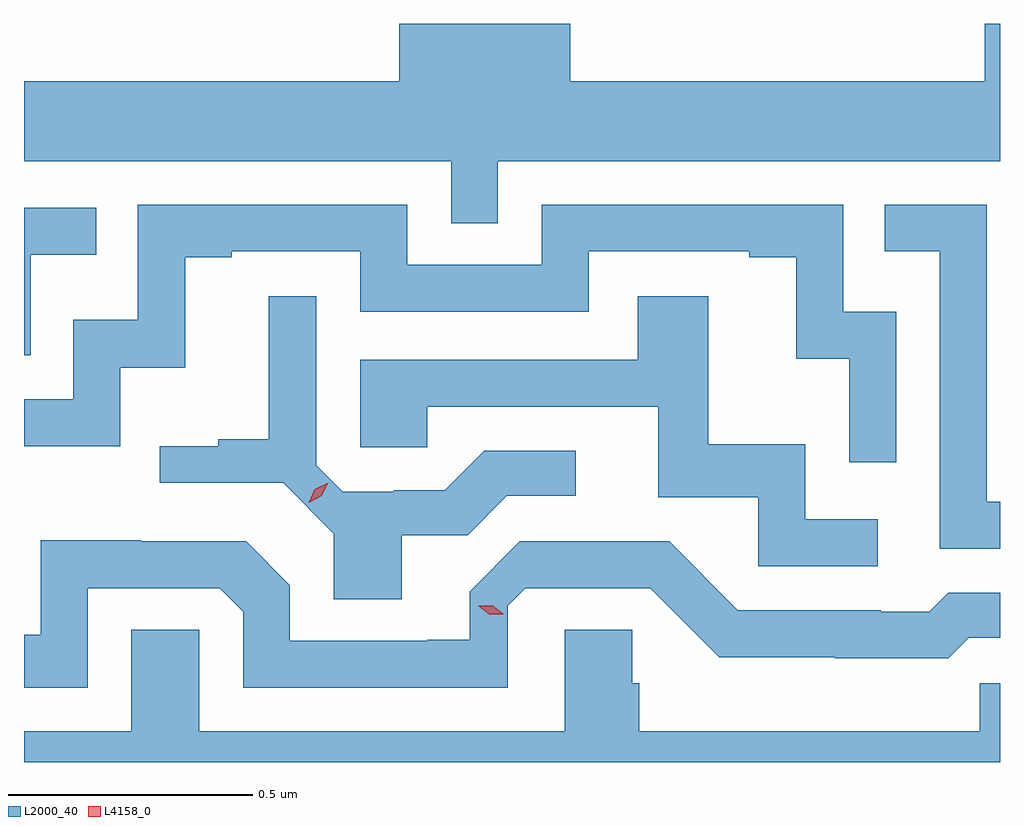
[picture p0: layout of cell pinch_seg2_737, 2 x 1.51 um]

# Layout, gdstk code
import gdstk
lib = gdstk.Library(unit=1e-6, precision=1e-09)
def P(c, l, *ps):  # polygons
    for p in ps: c.add(gdstk.Polygon(p, *l))
L2000_40 = (2000, 40)
L4158_0 = (4158, 0)

pinch_seg2_737 = lib.new_cell('pinch_seg2_737')
P(pinch_seg2_737, L2000_40, [(1135.038,585.032),(1136.067,585.032),(1136.067,585.314),(1136.036,585.314),(1136.036,585.196),(1135.186,585.196),(1135.186,585.314),(1134.836,585.314),(1134.836,585.196),(1134.067,585.196),(1134.067,585.032),(1134.942,585.032),(1134.942,584.905),(1135.038,584.905)],
  [(1136.067,584.334),(1136.04,584.334),(1136.04,584.943),(1135.831,584.943),(1135.831,584.847),(1135.944,584.847),(1135.944,584.238),(1136.067,584.238)],
  [(1135.854,584.724),(1135.746,584.724),(1135.746,584.943),(1135.128,584.943),(1135.128,584.82),(1134.852,584.82),(1134.852,584.943),(1134.3,584.943),(1134.3,584.707),(1134.168,584.707),(1134.168,584.544),(1134.067,584.544),(1134.067,584.448),(1134.264,584.448),(1134.264,584.609),(1134.397,584.609),(1134.397,584.835),(1134.493,584.835),(1134.493,584.847),(1134.756,584.847),(1134.756,584.724),(1135.224,584.724),(1135.224,584.847),(1135.553,584.847),(1135.553,584.835),(1135.649,584.835),(1135.649,584.627),(1135.758,584.627),(1135.758,584.415),(1135.854,584.415)],
  [(1134.081,584.84),(1134.215,584.84),(1134.215,584.937),(1134.067,584.937),(1134.067,584.634),(1134.081,584.634)],
  [(1134.841,584.266),(1134.976,584.266),(1135.056,584.346),(1135.198,584.346),(1135.198,584.439),(1135.01,584.439),(1134.929,584.358),(1134.825,584.358),(1134.825,584.355),(1134.72,584.355),(1134.666,584.409),(1134.666,584.755),(1134.569,584.755),(1134.569,584.462),(1134.465,584.462),(1134.465,584.448),(1134.345,584.448),(1134.345,584.373),(1134.598,584.373),(1134.702,584.269),(1134.702,584.134),(1134.841,584.134)],
  [(1135.816,584.298),(1135.668,584.298),(1135.668,584.452),(1135.469,584.452),(1135.469,584.755),(1135.325,584.755),(1135.325,584.625),(1134.756,584.625),(1134.756,584.446),(1134.893,584.446),(1134.893,584.529),(1135.367,584.529),(1135.367,584.343),(1135.572,584.343),(1135.572,584.202),(1135.816,584.202)],
  [(1134.198,584.157),(1134.468,584.157),(1134.516,584.109),(1134.516,583.953),(1135.058,583.953),(1135.058,584.121),(1135.094,584.157),(1135.35,584.157),(1135.492,584.015),(1135.728,584.015),(1135.728,584.013),(1135.961,584.013),(1136.003,584.055),(1136.067,584.055),(1136.067,584.148),(1135.961,584.148),(1135.922,584.109),(1135.823,584.109),(1135.823,584.112),(1135.53,584.112),(1135.389,584.253),(1135.083,584.253),(1134.98,584.15),(1134.98,584.051),(1134.893,584.051),(1134.893,584.049),(1134.612,584.049),(1134.612,584.163),(1134.522,584.253),(1134.306,584.253),(1134.306,584.255),(1134.101,584.255),(1134.101,584.062),(1134.067,584.062),(1134.067,583.953),(1134.198,583.953)],
  [(1136.067,583.962),(1136.025,583.962),(1136.025,583.864),(1135.328,583.864),(1135.328,583.962),(1135.313,583.962),(1135.313,584.072),(1135.175,584.072),(1135.175,583.864),(1134.426,583.864),(1134.426,584.072),(1134.287,584.072),(1134.287,583.864),(1134.067,583.864),(1134.067,583.8),(1136.067,583.8)])
P(pinch_seg2_737, L4158_0, [(1135.021,584.103),(1134.999,584.12),(1134.999,584.121),(1134.999,584.121),(1135.027,584.122),(1135.049,584.105),(1135.049,584.104),(1135.049,584.104)],
  [(1134.65,584.332),(1134.65,584.332),(1134.663,584.36),(1134.69,584.373),(1134.69,584.373),(1134.69,584.373),(1134.677,584.346),(1134.65,584.332)])

lib.write_gds('pinch_seg2_737.gds')
